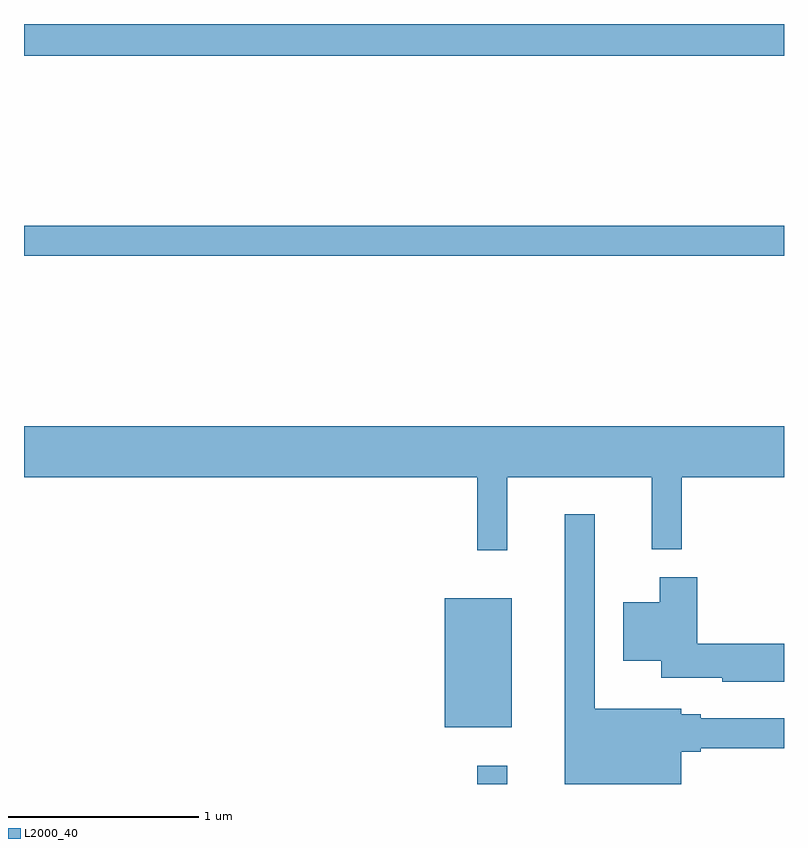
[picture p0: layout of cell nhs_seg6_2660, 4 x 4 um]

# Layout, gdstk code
import gdstk
lib = gdstk.Library(unit=1e-6, precision=1e-09)
def R(c, l, rs):  # rectangles x0, y0, x1, y1
    for r in rs: c.add(gdstk.rectangle(r[:2], r[2:], *l))
def P(c, l, *ps):  # polygons
    for p in ps: c.add(gdstk.Polygon(p, *l))
L2000_40 = (2000, 40)

nhs_seg6_2660 = lib.new_cell('nhs_seg6_2660')
R(nhs_seg6_2660, L2000_40, [(267.996,1586.162,268.154,1586.258), (267.826,1586.461,268.179,1587.139), (265.611,1588.941,269.611,1589.099), (265.611,1589.996,269.611,1590.162)])
P(nhs_seg6_2660, L2000_40, [(268.154,1587.776),(268.916,1587.776),(268.916,1587.398),(269.074,1587.398),(269.074,1587.776),(269.611,1587.776),(269.611,1588.044),(265.611,1588.044),(265.611,1587.776),(267.996,1587.776),(267.996,1587.393),(268.154,1587.393)],
  [(269.069,1586.331),(269.174,1586.331),(269.174,1586.351),(269.611,1586.351),(269.611,1586.509),(269.174,1586.509),(269.174,1586.529),(269.069,1586.529),(269.069,1586.559),(268.614,1586.559),(268.614,1587.583),(268.456,1587.583),(268.456,1586.162),(269.069,1586.162)],
  [(269.611,1586.899),(269.154,1586.899),(269.154,1587.249),(268.956,1587.249),(268.956,1587.119),(268.766,1587.119),(268.766,1586.811),(268.966,1586.811),(268.966,1586.721),(269.286,1586.721),(269.286,1586.701),(269.611,1586.701)])

lib.write_gds('nhs_seg6_2660.gds')
